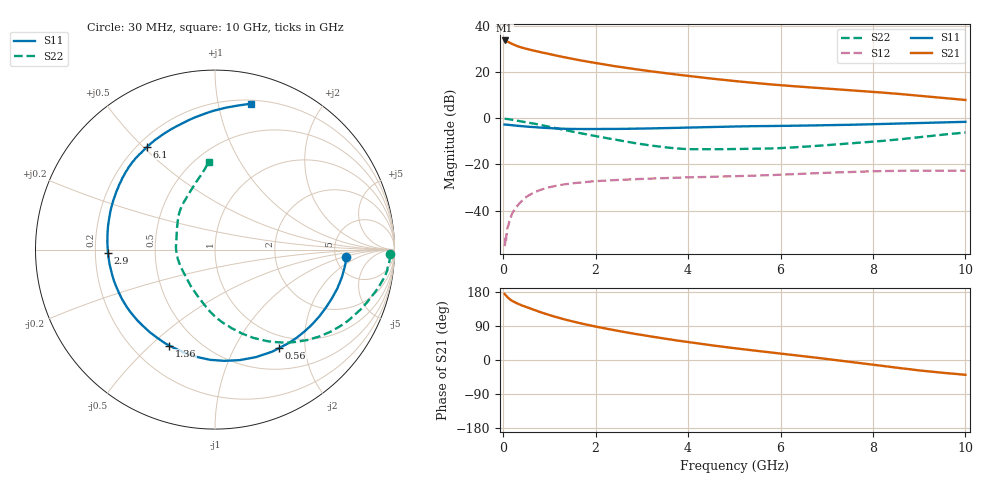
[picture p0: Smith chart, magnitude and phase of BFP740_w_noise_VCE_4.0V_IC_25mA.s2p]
! Infineon Technologies  Discrete & RF Semiconductors
! BFP740
! VCE =  4.0 V,  IC =  25 mA
! Common Emitter S-Parameters:  Jan 2016
# GHz  S  MA  R  50
!  f  S11  S21  S12  S22
! GHz  MAG  ANG  MAG  ANG  MAG  ANG  MAG  ANG
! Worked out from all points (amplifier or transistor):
!   229 points, 30 MHz to 10 GHz, reference 50 ohm
!   highest |S21| = 33.7 dB at 30 MHz (marker M1)
!   |S21| within 3 dB of that: start of sweep to 387.2 MHz
!   unconditionally stable (mu >= 1): 6.392 GHz to 9.977 GHz
!   at 280 MHz: K = 0.29, MSG = 35.0 dB, |S12| = -38.6 dB
!   at 1.78 GHz: K = 0.47, MSG = 26.2 dB, |S12| = -27.6 dB
!   at 10 GHz: K = 1.00, MSG = 15.3 dB, |S12| = -22.7 dB
!   lowest NFmin = 0.78 dB at 450 MHz
!   S11 on the Smith chart (normalised r, x): 30 MHz: 6.24, -1.13; 560 MHz: 0.80, -1.53; 1.36 GHz: 0.35, -0.57; 2.9 GHz: 0.25, -0.01; 6.1 GHz: 0.24, +0.52; 10 GHz: 0.23, +1.25
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0.03  0.7315 -3.3  48.5 174.2  0.0017 84.8  0.9735 -1.6
0.08  0.7269 -9.4  46.52 167.1  0.0032 62.5  0.9669 -6.0
0.11  0.722 -13.0  45.03 163.5  0.0047 81.8  0.9602 -8.6
0.15  0.7155 -17.5  42.87 159.5  0.0064 76.9  0.9443 -11.4
0.2  0.7056 -22.7  40.45 155.5  0.009 75.7  0.9253 -14.5
0.3  0.6899 -32.7  36.66 149.4  0.0124 71.7  0.89 -20.2
0.36  0.6813 -38.6  34.99 146.2  0.0147 70.6  0.8701 -23.4
0.56  0.6545 -57.1  30.88 136.9  0.0216 62.5  0.8029 -33.4
0.7  0.641 -69.2  28.62 130.6  0.0255 57.3  0.7551 -40.0
0.94  0.6179 -88.1  25.32 120.8  0.031 49.8  0.672 -50.2
1.14  0.6031 -102.0  22.9 113.4  0.0345 44.6  0.6081 -57.7
1.36  0.592 -115.5  20.61 106.1  0.0375 39.9  0.5477 -65.0
1.7  0.5851 -133.4  17.75 96.1  0.0408 34.1  0.4678 -75.0
2.2  0.587 -154.8  14.55 83.3  0.0446 27.9  0.3784 -89.1
2.9  0.597 -178.3  11.43 68.0  0.0482 22.1  0.2848 -107.9
3.4  0.6099 167.8  9.806 58.2  0.0504 18.8  0.2424 -124.3
4.2  0.6374 149.6  7.84 43.9  0.0531 14.4  0.2138 -153.0
5.1  0.667 134.8  6.275 29.7  0.056 11.0  0.2166 -179.0
6.1  0.6872 123.3  5.119 15.7  0.0606 7.9  0.2288 159.1
6.8  0.7031 115.0  4.546 5.7  0.065 4.2  0.2529 145.9
8.4  0.7636 93.2  3.477 -18.6  0.0726 -6.6  0.3368 117.0
10  0.8378 76.1  2.495 -39.1  0.0732 -16.3  0.491 94.0
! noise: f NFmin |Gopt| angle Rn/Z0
0.45  0.78  0.07  178  0.26
0.9  0.79  0.08  -174  0.26
1.5  0.81  0.08  -169  0.25
1.9  0.82  0.09  -163  0.24
2.4  0.85  0.09  -156  0.23
3.5  0.95  0.1  -144  0.21
5.5  1.11  0.22  -105  0.19
10  1.46  0.52  -65  0.28
